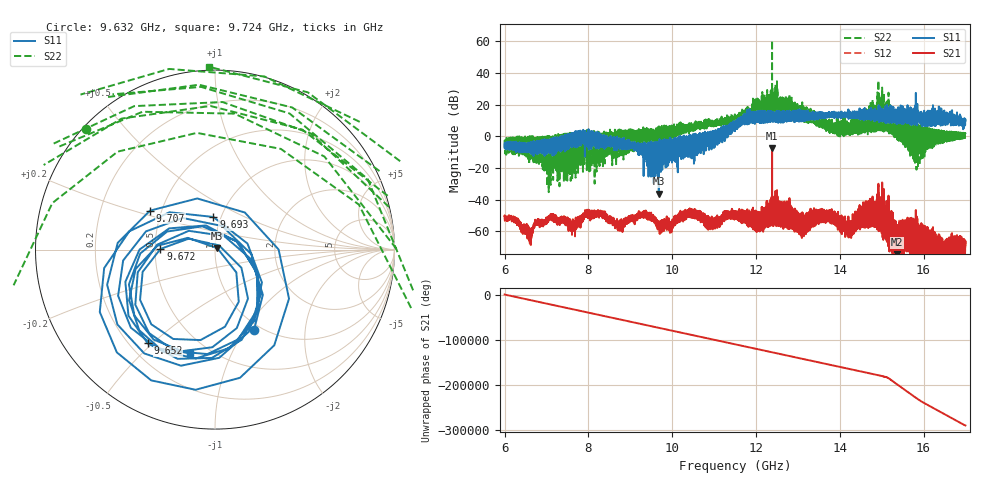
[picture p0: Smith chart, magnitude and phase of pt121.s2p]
#  HZ  S  RI  R  50.00
! Rohde & Schwarz Vector Network Analyzer
! Rohde-Schwarz,ZNA67-2Port,1332450062101215,3.01
! Created: UTC 10/19/2026, 4:52:21 PM
! freq[Hz]  re:S11  im:S11  re:S21  im:S21  re:S12  im:S12  re:S22  im:S22
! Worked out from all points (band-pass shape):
!   11001 points, 6 GHz to 17 GHz, reference 50 ohm
!   highest |S21| = -7.48 dB at 12.38 GHz (marker M1); lowest = -87.3 dB at 15.37 GHz (marker M2)
!   |S21| within 3 dB of the highest: 12.38493 GHz to 12.38507 GHz (137.3 kHz wide, 0.00111 % of centre)
!   lowest |S11| = -36.3 dB at 9.681 GHz (marker M3), VSWR 1.03, Z = 51.3 + j0.844 ohm
!   |S11| at or under -10 dB: 9.304839 GHz to 9.308647 GHz (3.808 MHz wide, 0.0409 % of centre); 9.386849 GHz to 9.391504 GHz (4.654 MHz wide, 0.0496 % of centre); 9.398712 GHz to 9.403148 GHz (4.435 MHz wide, 0.0472 % of centre) (the widest 3 of 143)
!   |S22| runs from -35.3 to 60.6 dB; largest |S21 - S12| = 0.011
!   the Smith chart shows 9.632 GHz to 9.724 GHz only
!   S11 on the Smith chart (normalised r, x): 9.632 GHz: 0.93, -1.10; 9.652 GHz: 0.27, -0.48; 9.672 GHz: 0.53, +0.00; 9.693 GHz: 0.92, +0.35; 9.707 GHz: 0.43, +0.23; 9.724 GHz: 0.40, -0.71
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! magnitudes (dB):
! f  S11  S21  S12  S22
! 6 GHz  -5.2  -50.5  -50.6  -2.3
! 6.599 GHz  -7.3  -63.1  -63.1  -9.4
! 7.107 GHz  -3.7  -52.5  -52.3  -1.1
! 7.834 GHz  -4.0  -54.2  -54.2  -13.8
! 9.632 GHz  -6.1  -56.6  -56.6  -0.1
! 9.652 GHz  -3.8  -57.6  -57.4  0.1
! 9.667 GHz  -6.9  -55.3  -55.5  -2.3
! 9.672 GHz  -10.3  -54.6  -54.8  3.6
! 9.681 GHz  -36.3  -57.0  -56.9  4.3
! 9.693 GHz  -14.8  -56.2  -56.3  3.6
! 9.707 GHz  -7.5  -55.1  -55.2  5.4
! 9.724 GHz  -4.5  -58.8  -58.6  0.2
! 10.4 GHz  -6.7  -49.5  -49.5  3.8
! 11.5 GHz  4.4  -50.9  -51.0  9.5
! 12.38 GHz  10.0  -7.5  -7.3  60.6
! 13.33 GHz  11.8  -54.1  -54.2  10.5
! 13.96 GHz  14.4  -50.6  -50.9  7.4
! 14.24 GHz  13.6  -59.3  -59.2  3.4
! 14.74 GHz  11.6  -56.2  -56.4  3.7
! 15.17 GHz  10.9  -64.9  -64.7  3.7
! 15.37 GHz  10.7  -87.3  -87.2  -0.3
! 17 GHz  9.9  -69.1  -69.1  1.4
